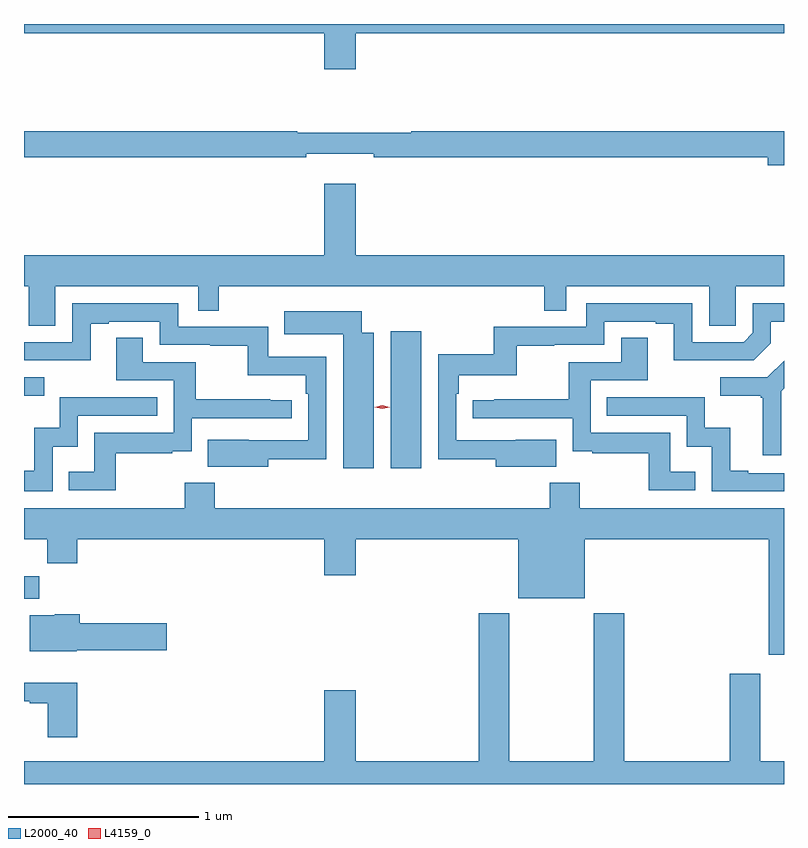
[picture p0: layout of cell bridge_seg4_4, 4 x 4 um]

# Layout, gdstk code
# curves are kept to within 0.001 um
import gdstk
lib = gdstk.Library(unit=1e-6, precision=1e-09)
def R(c, l, rs):  # rectangles x0, y0, x1, y1
    for r in rs: c.add(gdstk.rectangle(r[:2], r[2:], *l))
def P(c, l, *ps):  # polygons
    for p in ps: c.add(gdstk.Polygon(p, *l))
L2000_40 = (2000, 40)
L4159_0 = (4159, 0)

bridge_seg4_4 = lib.new_cell('bridge_seg4_4')
R(bridge_seg4_4, L2000_40, [(906.683,784.52,906.764,784.639), (908.612,785.208,908.773,785.929), (906.683,785.588,906.79,785.685)])
P(bridge_seg4_4, L2000_40, [(908.428,787.496),(910.683,787.496),(910.683,787.545),(906.683,787.545),(906.683,787.496),(908.264,787.496),(908.264,787.308),(908.428,787.308)],
  [(910.683,786.98),(908.722,786.98),(908.722,786.973),(908.122,786.973),(908.122,786.98),(906.683,786.98),(906.683,786.844),(908.168,786.844),(908.168,786.863),(908.524,786.863),(908.524,786.844),(910.598,786.844),(910.598,786.802),(910.683,786.802)],
  [(906.847,786.164),(907.599,786.164),(907.599,786.037),(907.708,786.037),(907.708,786.164),(909.421,786.164),(909.421,786.037),(909.537,786.037),(909.537,786.164),(910.289,786.164),(910.289,785.956),(910.428,785.956),(910.428,786.164),(910.683,786.164),(910.683,786.328),(908.428,786.328),(908.428,786.703),(908.264,786.703),(908.264,786.328),(906.683,786.328),(906.683,786.164),(906.708,786.164),(906.708,785.956),(906.847,785.956)],
  [(907.969,785.254),(908.274,785.254),(908.274,785.793),(907.968,785.793),(907.968,785.952),(907.494,785.952),(907.494,786.075),(906.936,786.075),(906.936,785.871),(906.683,785.871),(906.683,785.775),(906.828,785.775),(906.828,785.774),(907.033,785.774),(907.033,785.967),(907.129,785.967),(907.129,785.979),(907.398,785.979),(907.398,785.856),(907.663,785.856),(907.663,785.851),(907.86,785.851),(907.86,785.696),(908.165,785.696),(908.165,785.6),(908.178,785.6),(908.178,785.355),(907.865,785.355),(907.865,785.356),(907.651,785.356),(907.651,785.216),(907.969,785.216)],
  [(909.485,785.356),(908.958,785.355),(908.958,785.6),(908.972,785.6),(908.972,785.696),(909.277,785.696),(909.277,785.851),(909.473,785.851),(909.473,785.856),(909.738,785.856),(909.738,785.979),(910.007,785.979),(910.007,785.967),(910.103,785.967),(910.103,785.774),(910.524,785.775),(910.614,785.865),(910.614,785.979),(910.683,785.979),(910.683,786.075),(910.518,786.075),(910.518,785.919),(910.47,785.871),(910.2,785.871),(910.2,786.075),(909.642,786.075),(909.642,785.952),(909.156,785.952),(909.156,785.806),(908.862,785.806),(908.862,785.254),(909.167,785.254),(909.167,785.216),(909.485,785.216)],
  [(908.524,785.92),(908.461,785.92),(908.461,786.034),(908.053,786.034),(908.053,785.912),(908.363,785.912),(908.363,785.208),(908.524,785.208)],
  [(910.217,785.188),(910.083,785.188),(910.083,785.394),(909.666,785.394),(909.666,785.67),(909.967,785.67),(909.967,785.894),(909.827,785.894),(909.827,785.766),(909.55,785.766),(909.55,785.57),(909.157,785.57),(909.157,785.565),(909.045,785.565),(909.045,785.469),(909.57,785.469),(909.57,785.297),(909.673,785.297),(909.673,785.286),(909.972,785.286),(909.972,785.091),(910.217,785.091)],
  [(907.165,785.286),(907.463,785.286),(907.463,785.297),(907.566,785.297),(907.566,785.469),(908.092,785.469),(908.092,785.565),(907.979,785.565),(907.979,785.57),(907.586,785.57),(907.586,785.766),(907.309,785.766),(907.309,785.894),(907.169,785.894),(907.169,785.67),(907.47,785.67),(907.47,785.394),(907.054,785.394),(907.054,785.188),(906.919,785.188),(906.919,785.091),(907.165,785.091)],
  [(910.668,785.613),(910.683,785.628),(910.683,785.772),(910.596,785.685),(910.347,785.685),(910.347,785.588),(910.56,785.588),(910.56,785.577),(910.571,785.577),(910.571,785.274),(910.668,785.274)],
  [(910.683,785.181),(910.495,785.181),(910.495,785.194),(910.399,785.194),(910.399,785.419),(910.266,785.419),(910.266,785.58),(909.751,785.58),(909.751,785.484),(910.17,785.484),(910.17,785.321),(910.302,785.321),(910.302,785.085),(910.683,785.085)],
  [(906.834,785.321),(906.966,785.321),(906.966,785.484),(907.385,785.484),(907.385,785.58),(906.87,785.58),(906.87,785.419),(906.737,785.419),(906.737,785.194),(906.683,785.194),(906.683,785.085),(906.834,785.085)],
  [(910.683,784.996),(909.609,784.996),(909.609,785.131),(909.449,785.131),(909.449,784.996),(907.688,784.996),(907.688,785.131),(907.528,785.131),(907.528,784.996),(906.683,784.996),(906.683,784.832),(906.805,784.832),(906.805,784.708),(906.962,784.708),(906.962,784.832),(908.264,784.832),(908.264,784.644),(908.428,784.644),(908.428,784.832),(909.284,784.832),(909.284,784.523),(909.634,784.523),(909.634,784.832),(910.604,784.832),(910.604,784.226),(910.683,784.226)],
  [(910.683,783.664),(910.557,783.664),(910.557,784.126),(910.397,784.126),(910.397,783.664),(909.842,783.664),(909.842,784.444),(909.682,784.444),(909.682,783.664),(909.237,783.664),(909.237,784.444),(909.077,784.444),(909.077,783.664),(908.428,783.664),(908.428,784.039),(908.264,784.039),(908.264,783.664),(906.683,783.664),(906.683,783.545),(910.683,783.545)],
  [(906.96,784.25),(907.435,784.25),(907.435,784.392),(906.977,784.392),(906.977,784.438),(906.846,784.438),(906.846,784.432),(906.713,784.432),(906.713,784.244),(906.96,784.244)],
  [(906.962,784.078),(906.683,784.078),(906.683,783.981),(906.713,783.981),(906.713,783.969),(906.809,783.969),(906.809,783.792),(906.962,783.792)])
P(bridge_seg4_4, L4159_0, [(908.568,785.519),(908.528,785.529),(908.528,785.529),(908.528,785.529),(908.568,785.539),(908.608,785.529),(908.608,785.529),(908.608,785.529)])

lib.write_gds('bridge_seg4_4.gds')
